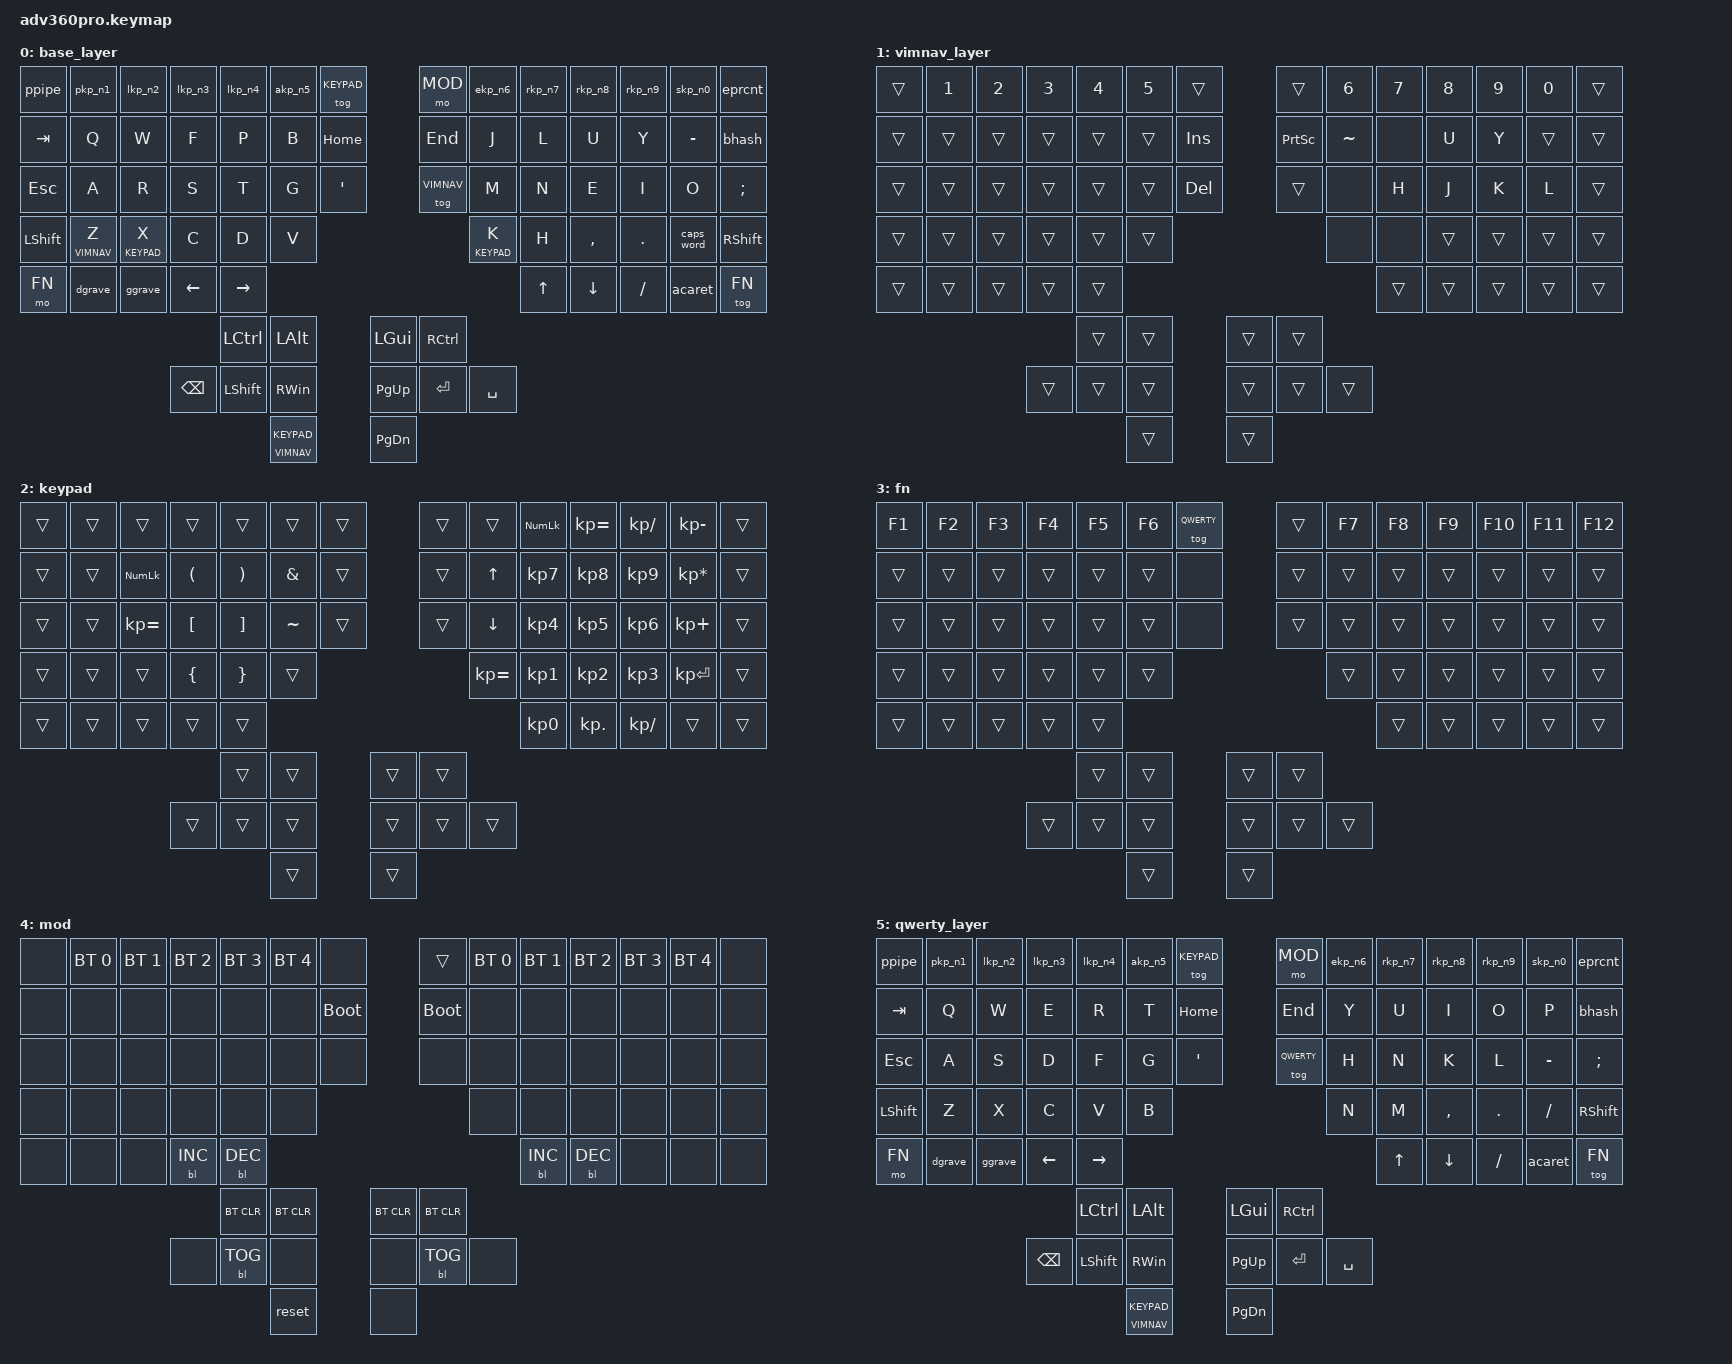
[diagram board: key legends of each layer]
#include <behaviors.dtsi>
#include <dt-bindings/zmk/keys.h>
#include <dt-bindings/zmk/bt.h>
#include <dt-bindings/zmk/outputs.h>
#include <dt-bindings/zmk/rgb.h>
#include <dt-bindings/zmk/backlight.h>

/* definitions for mouse layer */
#include "mouse.dtsi"


#define ___ &trans

#define MO_TOG(layer) &mo_tog layer layer   // Macro to apply momentary-layer-on-hold/toggle-layer-on-tap to a specific layer
#define LT(layer) &lt layer // Macro to apply momentary-layer-on-hold/toggle-layer-on-tap to a specific layer

/ {

  behaviors {
    mo_tog: behavior_mo_tog {
            compatible = "zmk,behavior-hold-tap";
            label = "mo_tog";
            #binding-cells = <2>;
            flavor = "hold-preferred";
            tapping-term-ms = <200>;
            bindings = <&mo>, <&tog>;
        };

    gpipe: grave_pipe {
          compatible = "zmk,behavior-mod-morph";
          label = "grave_pipe";
          #binding-cells = <0>;
          bindings = <&kp GRAVE>, <&kp PIPE>;
          mods = <(MOD_LGUI|MOD_LSFT|MOD_RSFT)>;
      };
    ppipe: pipe_pipe {
          compatible = "zmk,behavior-mod-morph";
          label = "pipe_pipe";
          #binding-cells = <0>;
          bindings = <&kp PIPE>, <&kp PIPE>;
          mods = <(MOD_LGUI|MOD_LSFT|MOD_RSFT)>;
    };
    pkp_n1: plus_kp_n1 {
          compatible = "zmk,behavior-mod-morph";
          label = "plus_kp_n1";
          #binding-cells = <0>;
          bindings = <&kp PLUS>, <&kp KP_N1>;
          mods = <(MOD_LGUI|MOD_LSFT|MOD_RSFT)>;
    };
    lkp_n2: left_bracket_kp_n2 {
          compatible = "zmk,behavior-mod-morph";
          label = "left_bracket_kp_n2";
          #binding-cells = <0>;
          bindings = <&kp LEFT_BRACKET>, <&kp KP_N2>;
          mods = <(MOD_LGUI|MOD_LSFT|MOD_RSFT)>;
    };
    lkp_n3: left_brace_kp_n3 {
          compatible = "zmk,behavior-mod-morph";
          label = "left_brace_kp_n3";
          #binding-cells = <0>;
          bindings = <&kp LEFT_BRACE>, <&kp KP_N3>;
          mods = <(MOD_LGUI|MOD_LSFT|MOD_RSFT)>;
    };
    lkp_n4: left_parenthesis_kp_n4 {
          compatible = "zmk,behavior-mod-morph";
          label = "left_parenthesis_kp_n4";
          #binding-cells = <0>;
          bindings = <&kp LEFT_PARENTHESIS>, <&kp KP_N4>;
          mods = <(MOD_LGUI|MOD_LSFT|MOD_RSFT)>;
    };
    akp_n5: amps_kp_n5 {
          compatible = "zmk,behavior-mod-morph";
          label = "amps_kp_n5";
          #binding-cells = <0>;
          bindings = <&kp AMPS>, <&kp KP_N5>;
          mods = <(MOD_LGUI|MOD_LSFT|MOD_RSFT)>;
    };
    ekp_n6: equal_kp_n6 {
          compatible = "zmk,behavior-mod-morph";
          label = "equal_kp_n6";
          #binding-cells = <0>;
          bindings = <&kp EQUAL>, <&kp KP_N6>;
          mods = <(MOD_LGUI|MOD_LSFT|MOD_RSFT)>;
    };
    rkp_n7: right_parenthesis_kp_n7 {
          compatible = "zmk,behavior-mod-morph";
          label = "right_parenthesis_kp_n7";
          #binding-cells = <0>;
          bindings = <&kp RIGHT_PARENTHESIS>, <&kp KP_N7>;
          mods = <(MOD_LGUI|MOD_LSFT|MOD_RSFT)>;
    };
    rkp_n8: right_brace_kp_n8 {
          compatible = "zmk,behavior-mod-morph";
          label = "right_brace_kp_n8";
          #binding-cells = <0>;
          bindings = <&kp RIGHT_BRACE>, <&kp KP_N8>;
          mods = <(MOD_LGUI|MOD_LSFT|MOD_RSFT)>;
    };
    rkp_n9: right_bracket_kp_n9 {
          compatible = "zmk,behavior-mod-morph";
          label = "right_bracket_kp_n9";
          #binding-cells = <0>;
          bindings = <&kp RIGHT_BRACKET>, <&kp KP_N9>;
          mods = <(MOD_LGUI|MOD_LSFT|MOD_RSFT)>;
    };
    skp_n0: star_kp_n0 {
          compatible = "zmk,behavior-mod-morph";
          label = "star_kp_n0";
          #binding-cells = <0>;
          bindings = <&kp STAR>, <&kp KP_N0>;
          mods = <(MOD_LGUI|MOD_LSFT|MOD_RSFT)>;
    };
    eprcnt: excl_prcnt {
          compatible = "zmk,behavior-mod-morph";
          label = "excl_prcnt";
          #binding-cells = <0>;
          bindings = <&kp EXCL>, <&kp PRCNT>;
          mods = <(MOD_LGUI|MOD_LSFT|MOD_RSFT)>;
    };
    dgrave: dllr_grave {
          compatible = "zmk,behavior-mod-morph";
          label = "dllr_grave";
          #binding-cells = <0>;
          bindings = <&kp DLLR>, <&kp GRAVE>;
          mods = <(MOD_LGUI|MOD_LSFT|MOD_RSFT)>;
    };
    ggrave: grave_grave {
          compatible = "zmk,behavior-mod-morph";
          label = "grave_grave";
          #binding-cells = <0>;
          bindings = <&kp GRAVE>, <&kp GRAVE>;
          mods = <(MOD_LGUI|MOD_LSFT|MOD_RSFT)>;
    };
    bhash: bslh_hash {
          compatible = "zmk,behavior-mod-morph";
          label = "bslh_hash";
          #binding-cells = <0>;
          bindings = <&kp BSLH>, <&kp HASH>;
          mods = <(MOD_LGUI|MOD_LSFT|MOD_RSFT)>;
    };
    acaret: at_caret {
          compatible = "zmk,behavior-mod-morph";
          label = "at_caret";
          #binding-cells = <0>;
          bindings = <&kp AT>, <&kp CARET>;
          mods = <(MOD_LGUI|MOD_LSFT|MOD_RSFT)>;
    };
  };

    #define COLEMAK 0
    #define VIMNAV 1
    #define KEYPAD 2
    #define FN 3
    #define MOD 4
    #define QWERTY 5

    /* remove unused keys from layout and move thumb cluster to bottom */
    chosen {
        zmk,matrix_transform = &urobs_transform;
    };

    keymap {
        compatible = "zmk,keymap";

        base_layer {
            bindings = <
                &ppipe    &pkp_n1          &lkp_n2          &lkp_n3   &lkp_n4    &akp_n5   &tog KEYPAD            &mo MOD       &ekp_n6       &rkp_n7      &rkp_n8     &rkp_n9     &skp_n0     &eprcnt
                &kp TAB   &kp Q            &kp W            &kp F     &kp P      &kp B     &kp HOME               &kp END       &kp J         &kp L        &kp U       &kp Y       &kp MINUS   &bhash
                &kp ESC   &kp A            &kp R            &kp S     &kp T      &kp G     &kp APOS               &tog VIMNAV   &kp M         &kp N        &kp E       &kp I       &kp O       &kp SEMI
                &kp LSHFT &lt VIMNAV Z     &lt KEYPAD X     &kp C     &kp D      &kp V                                          &lt KEYPAD K  &kp H        &kp COMMA   &kp DOT     &caps_word  &kp RSHFT
                &mo FN    &dgrave          &ggrave          &kp LEFT  &kp RIGHT                                                               &kp UP       &kp  DOWN   &kp FSLH    &acaret     &tog FN
                                                                      &kp LCTRL  &kp LALT               &kp LGUI     &kp RCTRL
                                                            &kp BSPC  &kp LSHFT  &kp RWIN               &kp PG_UP    &kp ENTER   &kp SPACE
                                                                                 &mo_tog VIMNAV KEYPAD  &kp PG_DN
            >;
        };

        vimnav_layer {
            bindings = <
                ___       &kp N1    &kp N2    &kp N3    &kp N4    &kp N5    ___                ___                 &kp N6        &kp N7    &kp N8    &kp N9    &kp N0    ___
                ___       ___       ___       ___       ___       ___       &kp INS            &kp PRINTSCREEN     &kp TILDE     &none     &kp U     &kp Y     ___       ___
                ___       ___       ___       ___       ___       ___       &kp DEL            ___                 &none         &kp H     &kp J     &kp K     &kp L     ___
                ___       ___       ___       ___       ___       ___                                              &none         &none     ___       ___       ___       ___
                ___       ___       ___       ___       ___                                                                      ___       ___       ___       ___       ___
                                                                  ___       ___                ___       ___
                                                        ___       ___       ___                ___       ___        ___
                                                                            ___                ___
            >;
        };

        keypad {
            bindings = <
                ___       ___    ___            ___          ___       ___         ___       ___    ___          &kp KP_NUM  &kp KP_EQUAL  &kp KP_DIVIDE  &kp KP_MINUS     ___
                ___       ___    &kp KP_NUM     &kp LPAR     &kp RPAR  &kp AMPS    ___       ___    &kp UP       &kp KP_N7   &kp KP_N8     &kp KP_N9      &kp KP_MULTIPLY  ___
                ___       ___    &kp KP_EQUAL   &kp LBKT     &kp RBKT  &kp TILDE   ___       ___    &kp DOWN     &kp KP_N4   &kp KP_N5     &kp KP_N6      &kp KP_PLUS      ___
                ___       ___    ___            &kp LBRC     &kp RBRC  ___                          &kp KP_EQUAL &kp KP_N1   &kp KP_N2     &kp KP_N3      &kp KP_ENTER     ___
                ___       ___    ___            ___          ___                                                 &kp KP_N0   &kp KP_DOT    &kp KP_DIVIDE  ___              ___
                                                                  ___       ___              ___       ___
                                                        ___       ___       ___              ___       ___    ___
                                                                            ___              ___
            >;
        };

        fn {
            bindings = <
                &kp F1    &kp F2    &kp F3    &kp F4    &kp F5    &kp F6    &tog QWERTY      ___       &kp F7    &kp F8    &kp F9    &kp F10   &kp F11   &kp F12
                ___       ___       ___       ___       ___       ___       &none            ___       ___       ___       ___       ___       ___       ___
                ___       ___       ___       ___       ___       ___       &none            ___       ___       ___       ___       ___       ___       ___
                ___       ___       ___       ___       ___       ___                                  ___       ___       ___       ___       ___       ___
                ___       ___       ___       ___       ___                                                      ___       ___       ___       ___       ___
                                                                  ___       ___              ___       ___
                                                        ___       ___       ___              ___       ___       ___
                                                                            ___              ___
            >;
        };

        mod {
            bindings = <
                &none       &bt BT_SEL 0 &bt BT_SEL 1 &bt BT_SEL 2 &bt BT_SEL 3 &bt BT_SEL 4 &none            ___          &bt BT_SEL 0 &bt BT_SEL 1 &bt BT_SEL 2 &bt BT_SEL 3 &bt BT_SEL 4 &none
                &none       &none        &none        &none        &none        &none        &bootloader      &bootloader  &none        &none        &none        &none        &none        &none
                &none       &none        &none        &none        &none        &none        &none            &none        &none        &none        &none        &none        &none        &none
                &none       &none        &none        &none        &none        &none                                      &none        &none        &none        &none        &none        &none
                &none       &none        &none        &bl BL_INC   &bl BL_DEC                                                           &bl BL_INC   &bl BL_DEC   &none        &none        &none
                                                                                &bt BT_CLR   &bt BT_CLR       &bt BT_CLR  &bt BT_CLR
                                                                   &none        &bl BL_TOG   &none            &none       &bl BL_TOG    &none
                                                                                             &reset           &none
            >;
        };


        qwerty_layer {
            bindings = <
                &ppipe    &pkp_n1   &lkp_n2   &lkp_n3   &lkp_n4   &akp_n5   &tog KEYPAD            &mo MOD      &ekp_n6   &rkp_n7   &rkp_n8     &rkp_n9    &skp_n0      &eprcnt
                &kp TAB   &kp Q     &kp W     &kp E     &kp R     &kp T     &kp HOME               &kp END      &kp Y     &kp U     &kp I       &kp O      &kp P        &bhash
                &kp ESC   &kp A     &kp S     &kp D     &kp F     &kp G     &kp APOS               &tog QWERTY  &kp H     &kp N     &kp K       &kp L      &kp MINUS    &kp SEMI
                &kp LSHFT &kp Z     &kp X     &kp C     &kp V     &kp B                                         &kp N     &kp M     &kp COMMA   &kp DOT    &kp FSLH     &kp RSHFT
                &mo FN    &dgrave   &ggrave   &kp LEFT  &kp RIGHT                                                         &kp UP    &kp DOWN    &kp FSLH   &acaret      &tog FN
                                                                  &kp LCTRL &kp LALT               &kp LGUI     &kp RCTRL
                                                        &kp BSPC  &kp LSHFT &kp RWIN               &kp PG_UP    &kp ENTER   &kp SPACE
                                                                            &mo_tog VIMNAV KEYPAD  &kp PG_DN
            >;
        };

    };

};

